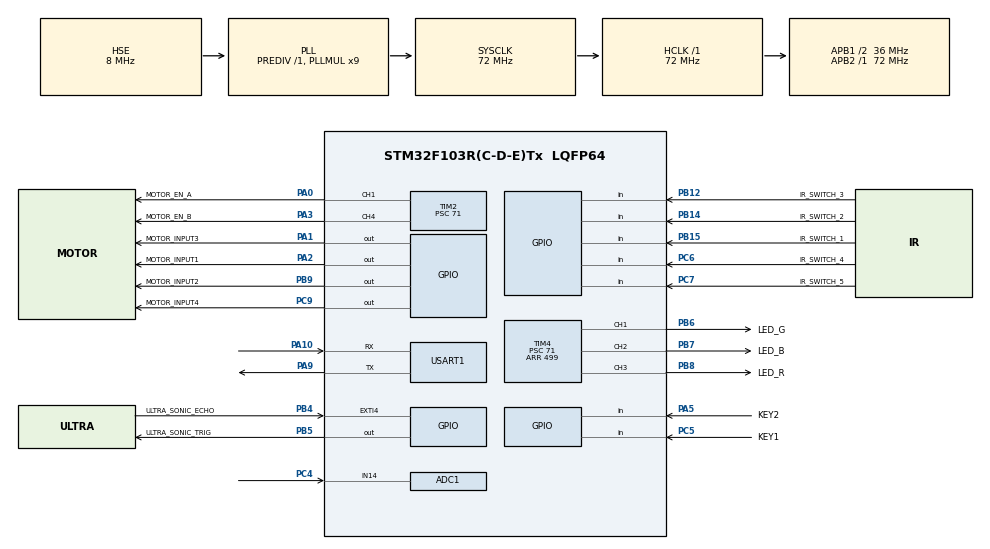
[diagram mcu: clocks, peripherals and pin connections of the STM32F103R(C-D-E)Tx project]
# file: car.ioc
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ADC1.Channel-0\#ChannelRegularConversion=ADC_CHANNEL_14
ADC1.NbrOfConversionFlag=1
ADC1.Rank-0\#ChannelRegularConversion=1
ADC1.SamplingTime-0\#ChannelRegularConversion=ADC_SAMPLETIME_1CYCLE_5
ADC1.master=1
FREERTOS.Tasks01=defaultTask,8,128,StartDefaultTask,Default,NULL,Dynamic,NULL,NULL
FREERTOS.configTOTAL_HEAP_SIZE=8192
Mcu.Family=STM32F1
Mcu.Name=STM32F103R(C-D-E)Tx
Mcu.Package=LQFP64
NVIC.EXTI4_IRQn=true\:5\:0\:false\:false\:true\:true\:true\:true\:true
NVIC.PriorityGroup=NVIC_PRIORITYGROUP_4
NVIC.TIM1_UP_IRQn=true\:15\:0\:false\:false\:true\:false\:false\:true\:true
NVIC.TIM2_IRQn=true\:5\:0\:false\:false\:true\:true\:true\:true\:true
NVIC.TIM3_IRQn=true\:5\:0\:true\:false\:true\:true\:true\:true\:true
NVIC.TIM4_IRQn=true\:5\:0\:false\:false\:true\:true\:true\:true\:true
NVIC.TIM5_IRQn=true\:5\:0\:false\:false\:true\:true\:true\:true\:true
NVIC.TimeBase=TIM1_UP_IRQn
NVIC.TimeBaseIP=TIM1
PA0-WKUP.GPIO_Label=MOTOR_EN_A
PA0-WKUP.Signal=S_TIM2_CH1_ETR
PA1.GPIO_Label=MOTOR_INPUT3
PA1.Signal=GPIO_Output
PA10.Mode=Asynchronous
PA10.Signal=USART1_RX
PA13.Mode=Serial_Wire
PA13.Signal=SYS_JTMS-SWDIO
PA14.Mode=Serial_Wire
PA14.Signal=SYS_JTCK-SWCLK
PA2.GPIO_Label=MOTOR_INPUT1
PA2.Signal=GPIO_Output
PA3.GPIO_Label=MOTOR_EN_B
PA3.Signal=S_TIM2_CH4
PA5.GPIO_Label=KEY2
PA5.Signal=GPIO_Input
PA9.Mode=Asynchronous
PA9.Signal=USART1_TX
PB12.GPIO_Label=IR_SWITCH_3
PB12.Signal=GPIO_Input
PB14.GPIO_Label=IR_SWITCH_2
PB14.Signal=GPIO_Input
PB15.GPIO_Label=IR_SWITCH_1
PB15.Signal=GPIO_Input
PB4.GPIO_Label=ULTRA_SONIC_ECHO
PB4.GPIO_ModeDefaultEXTI=GPIO_MODE_IT_RISING_FALLING
PB4.Signal=GPXTI4
PB5.GPIO_Label=ULTRA_SONIC_TRIG
PB5.Signal=GPIO_Output
PB6.GPIO_Label=LED_G
PB6.Signal=S_TIM4_CH1
PB7.GPIO_Label=LED_B
PB7.Signal=S_TIM4_CH2
PB8.GPIO_Label=LED_R
PB8.Signal=S_TIM4_CH3
PB9.GPIO_Label=MOTOR_INPUT2
PB9.Signal=GPIO_Output
PC4.Signal=ADCx_IN14
PC5.GPIO_Label=KEY1
PC5.Signal=GPIO_Input
PC6.GPIO_Label=IR_SWITCH_4
PC6.Signal=GPIO_Input
PC7.GPIO_Label=IR_SWITCH_5
PC7.Signal=GPIO_Input
PC9.GPIO_Label=MOTOR_INPUT4
PC9.Signal=GPIO_Output
PD0-OSC_IN.Mode=HSE-External-Oscillator
PD0-OSC_IN.Signal=RCC_OSC_IN
PD1-OSC_OUT.Mode=HSE-External-Oscillator
PD1-OSC_OUT.Signal=RCC_OSC_OUT
ProjectManager.HeapSize=0x200
ProjectManager.StackSize=0x400
ProjectManager.TargetToolchain=Makefile
RCC.ADCPresc=RCC_ADCPCLK2_DIV6
RCC.AHBFreq_Value=72000000
RCC.APB1CLKDivider=RCC_HCLK_DIV2
RCC.APB1Freq_Value=36000000
RCC.APB1TimFreq_Value=72000000
RCC.APB2Freq_Value=72000000
RCC.APB2TimFreq_Value=72000000
RCC.HCLKFreq_Value=72000000
RCC.PLLMUL=RCC_PLL_MUL9
RCC.PLLSourceVirtual=RCC_PLLSOURCE_HSE
RCC.SYSCLKFreq_VALUE=72000000
RCC.SYSCLKSource=RCC_SYSCLKSOURCE_PLLCLK
RCC.USBFreq_Value=72000000
SH.ADCx_IN14.0=ADC1_IN14,IN14
SH.S_TIM2_CH1_ETR.0=TIM2_CH1,PWM Generation1 CH1
SH.S_TIM2_CH4.0=TIM2_CH4,PWM Generation4 CH4
SH.S_TIM4_CH1.0=TIM4_CH1,PWM Generation1 CH1
SH.S_TIM4_CH2.0=TIM4_CH2,PWM Generation2 CH2
SH.S_TIM4_CH3.0=TIM4_CH3,PWM Generation3 CH3
TIM2.AutoReloadPreload=TIM_AUTORELOAD_PRELOAD_ENABLE
TIM2.Channel-PWM\ Generation1\ CH1=TIM_CHANNEL_1
TIM2.Channel-PWM\ Generation4\ CH4=TIM_CHANNEL_4
TIM2.Period=499
TIM2.Prescaler=71
TIM3.AutoReloadPreload=TIM_AUTORELOAD_PRELOAD_ENABLE
TIM3.Period=4999
TIM3.Prescaler=7199
TIM4.AutoReloadPreload=TIM_AUTORELOAD_PRELOAD_ENABLE
TIM4.Channel-PWM\ Generation1\ CH1=TIM_CHANNEL_1
TIM4.Channel-PWM\ Generation2\ CH2=TIM_CHANNEL_2
TIM4.Channel-PWM\ Generation3\ CH3=TIM_CHANNEL_3
TIM4.OCPolarity_1=TIM_OCPOLARITY_LOW
TIM4.OCPolarity_2=TIM_OCPOLARITY_LOW
TIM4.OCPolarity_3=TIM_OCPOLARITY_LOW
TIM4.Period=499
TIM4.Prescaler=71
TIM5.AutoReloadPreload=TIM_AUTORELOAD_PRELOAD_ENABLE
TIM5.Period=65535
TIM5.Prescaler=71
USART1.VirtualMode=VM_ASYNC
VP_FREERTOS_VS_CMSIS_V2.Mode=CMSIS_V2
VP_SYS_VS_tim1.Mode=TIM1
VP_TIM3_VS_ClockSourceINT.Mode=Internal
VP_TIM5_VS_ClockSourceINT.Mode=Internal
board=custom

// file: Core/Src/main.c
/* USER CODE BEGIN Header */
/**
  ******************************************************************************
  * @file           : main.c
  * @brief          : Main program body
  ******************************************************************************
  * @attention
  *
  * Copyright (c) 2025 STMicroelectronics.
  * All rights reserved.
  *
  * This software is licensed under terms that can be found in the LICENSE file
  * in the root directory of this software component.
  * If no LICENSE file comes with this software, it is provided AS-IS.
  *
  ******************************************************************************
  */
/* USER CODE END Header */
#include "main.h"
#include "cmsis_os.h"

/* USER CODE BEGIN Includes */
#include "tim_irq.h"
/* USER CODE END Includes */

ADC_HandleTypeDef hadc1;

TIM_HandleTypeDef htim2;
TIM_HandleTypeDef htim3;
TIM_HandleTypeDef htim4;
TIM_HandleTypeDef htim5;

UART_HandleTypeDef huart1;

/* Definitions for defaultTask */
osThreadId_t defaultTaskHandle;
const osThreadAttr_t defaultTask_attributes = {
  .name = "defaultTask",
  .stack_size = 128 * 4,
  .priority = (osPriority_t) osPriorityLow,
};
/* USER CODE BEGIN PV */
extern void create_thread(void);
/* USER CODE END PV */

void SystemClock_Config(void);
static void MX_GPIO_Init(void);
static void MX_TIM2_Init(void);
static void MX_USART1_UART_Init(void);
static void MX_TIM3_Init(void);
static void MX_TIM4_Init(void);
static void MX_ADC1_Init(void);
static void MX_TIM5_Init(void);
void StartDefaultTask(void *argument);

int main(void)
{

  /* MCU Configuration--------------------------------------------------------*/

  /* Reset of all peripherals, Initializes the Flash interface and the Systick. */
  HAL_Init();

  /* Configure the system clock */
  SystemClock_Config();

  /* Initialize all configured peripherals */
  MX_GPIO_Init();
  MX_TIM2_Init();
  MX_USART1_UART_Init();
  MX_TIM3_Init();
  MX_TIM4_Init();
  MX_ADC1_Init();
  MX_TIM5_Init();
  /* USER CODE BEGIN 2 */
  //AD校准
  HAL_ADCEx_Calibration_Start(&hadc1);
  /* USER CODE END 2 */

  /* Init scheduler */
  osKernelInitialize();

  /* Create the thread(s) */
  /* creation of defaultTask */
  defaultTaskHandle = osThreadNew(StartDefaultTask, NULL, &defaultTask_attributes);

  /* USER CODE BEGIN RTOS_THREADS */
  /* add threads, ... */
  create_thread();
  /* USER CODE END RTOS_THREADS */

  /* Start scheduler */
  osKernelStart();

  /* We should never get here as control is now taken by the scheduler */

  /* Infinite loop */
  while (1)
  {

  }
}

void SystemClock_Config(void)
{
  RCC_OscInitTypeDef RCC_OscInitStruct = {0};
  RCC_ClkInitTypeDef RCC_ClkInitStruct = {0};
  RCC_PeriphCLKInitTypeDef PeriphClkInit = {0};

  /** Initializes the RCC Oscillators according to the specified parameters
  * in the RCC_OscInitTypeDef structure.
  */
  RCC_OscInitStruct.OscillatorType = RCC_OSCILLATORTYPE_HSE;
  RCC_OscInitStruct.HSEState = RCC_HSE_ON;
  RCC_OscInitStruct.HSEPredivValue = RCC_HSE_PREDIV_DIV1;
  RCC_OscInitStruct.HSIState = RCC_HSI_ON;
  RCC_OscInitStruct.PLL.PLLState = RCC_PLL_ON;
  RCC_OscInitStruct.PLL.PLLSource = RCC_PLLSOURCE_HSE;
  RCC_OscInitStruct.PLL.PLLMUL = RCC_PLL_MUL9;
  if (HAL_RCC_OscConfig(&RCC_OscInitStruct) != HAL_OK)
  {
    Error_Handler();
  }

  /** Initializes the CPU, AHB and APB buses clocks
  */
  RCC_ClkInitStruct.ClockType = RCC_CLOCKTYPE_HCLK|RCC_CLOCKTYPE_SYSCLK
                              |RCC_CLOCKTYPE_PCLK1|RCC_CLOCKTYPE_PCLK2;
  RCC_ClkInitStruct.SYSCLKSource = RCC_SYSCLKSOURCE_PLLCLK;
  RCC_ClkInitStruct.AHBCLKDivider = RCC_SYSCLK_DIV1;
  RCC_ClkInitStruct.APB1CLKDivider = RCC_HCLK_DIV2;
  RCC_ClkInitStruct.APB2CLKDivider = RCC_HCLK_DIV1;

  if (HAL_RCC_ClockConfig(&RCC_ClkInitStruct, FLASH_LATENCY_2) != HAL_OK)
  {
    Error_Handler();
  }
  PeriphClkInit.PeriphClockSelection = RCC_PERIPHCLK_ADC;
  PeriphClkInit.AdcClockSelection = RCC_ADCPCLK2_DIV6;
  if (HAL_RCCEx_PeriphCLKConfig(&PeriphClkInit) != HAL_OK)
  {
    Error_Handler();
  }
}

static void MX_ADC1_Init(void)
{

  ADC_ChannelConfTypeDef sConfig = {0};

  /** Common config
  */
  hadc1.Instance = ADC1;
  hadc1.Init.ScanConvMode = ADC_SCAN_DISABLE;
  hadc1.Init.ContinuousConvMode = DISABLE;
  hadc1.Init.DiscontinuousConvMode = DISABLE;
  hadc1.Init.ExternalTrigConv = ADC_SOFTWARE_START;
  hadc1.Init.DataAlign = ADC_DATAALIGN_RIGHT;
  hadc1.Init.NbrOfConversion = 1;
  if (HAL_ADC_Init(&hadc1) != HAL_OK)
  {
    Error_Handler();
  }

  /** Configure Regular Channel
  */
  sConfig.Channel = ADC_CHANNEL_14;
  sConfig.Rank = ADC_REGULAR_RANK_1;
  sConfig.SamplingTime = ADC_SAMPLETIME_1CYCLE_5;
  if (HAL_ADC_ConfigChannel(&hadc1, &sConfig) != HAL_OK)
  {
    Error_Handler();
  }

}

static void MX_TIM2_Init(void)
{

  TIM_MasterConfigTypeDef sMasterConfig = {0};
  TIM_OC_InitTypeDef sConfigOC = {0};

  htim2.Instance = TIM2;
  htim2.Init.Prescaler = 71;
  htim2.Init.CounterMode = TIM_COUNTERMODE_UP;
  htim2.Init.Period = 499;
  htim2.Init.ClockDivision = TIM_CLOCKDIVISION_DIV1;
  htim2.Init.AutoReloadPreload = TIM_AUTORELOAD_PRELOAD_ENABLE;
  if (HAL_TIM_PWM_Init(&htim2) != HAL_OK)
  {
    Error_Handler();
  }
  sMasterConfig.MasterOutputTrigger = TIM_TRGO_RESET;
  sMasterConfig.MasterSlaveMode = TIM_MASTERSLAVEMODE_DISABLE;
  if (HAL_TIMEx_MasterConfigSynchronization(&htim2, &sMasterConfig) != HAL_OK)
  {
    Error_Handler();
  }
  sConfigOC.OCMode = TIM_OCMODE_PWM1;
  sConfigOC.Pulse = 0;
  sConfigOC.OCPolarity = TIM_OCPOLARITY_HIGH;
  sConfigOC.OCFastMode = TIM_OCFAST_DISABLE;
  if (HAL_TIM_PWM_ConfigChannel(&htim2, &sConfigOC, TIM_CHANNEL_1) != HAL_OK)
  {
    Error_Handler();
  }
  if (HAL_TIM_PWM_ConfigChannel(&htim2, &sConfigOC, TIM_CHANNEL_4) != HAL_OK)
  {
    Error_Handler();
  }
  HAL_TIM_MspPostInit(&htim2);

}

static void MX_TIM3_Init(void)
{

  TIM_ClockConfigTypeDef sClockSourceConfig = {0};
  TIM_MasterConfigTypeDef sMasterConfig = {0};

  htim3.Instance = TIM3;
  htim3.Init.Prescaler = 7199;
  htim3.Init.CounterMode = TIM_COUNTERMODE_UP;
  htim3.Init.Period = 4999;
  htim3.Init.ClockDivision = TIM_CLOCKDIVISION_DIV1;
  htim3.Init.AutoReloadPreload = TIM_AUTORELOAD_PRELOAD_ENABLE;
  if (HAL_TIM_Base_Init(&htim3) != HAL_OK)
  {
    Error_Handler();
  }
  sClockSourceConfig.ClockSource = TIM_CLOCKSOURCE_INTERNAL;
  if (HAL_TIM_ConfigClockSource(&htim3, &sClockSourceConfig) != HAL_OK)
  {
    Error_Handler();
  }
  sMasterConfig.MasterOutputTrigger = TIM_TRGO_RESET;
  sMasterConfig.MasterSlaveMode = TIM_MASTERSLAVEMODE_DISABLE;
  if (HAL_TIMEx_MasterConfigSynchronization(&htim3, &sMasterConfig) != HAL_OK)
  {
    Error_Handler();
  }

}

static void MX_TIM4_Init(void)
{

  TIM_MasterConfigTypeDef sMasterConfig = {0};
  TIM_OC_InitTypeDef sConfigOC = {0};

  htim4.Instance = TIM4;
  htim4.Init.Prescaler = 71;
  htim4.Init.CounterMode = TIM_COUNTERMODE_UP;
  htim4.Init.Period = 499;
  htim4.Init.ClockDivision = TIM_CLOCKDIVISION_DIV1;
  htim4.Init.AutoReloadPreload = TIM_AUTORELOAD_PRELOAD_ENABLE;
  if (HAL_TIM_PWM_Init(&htim4) != HAL_OK)
  {
    Error_Handler();
  }
  sMasterConfig.MasterOutputTrigger = TIM_TRGO_RESET;
  sMasterConfig.MasterSlaveMode = TIM_MASTERSLAVEMODE_DISABLE;
  if (HAL_TIMEx_MasterConfigSynchronization(&htim4, &sMasterConfig) != HAL_OK)
  {
    Error_Handler();
  }
  sConfigOC.OCMode = TIM_OCMODE_PWM1;
  sConfigOC.Pulse = 0;
  sConfigOC.OCPolarity = TIM_OCPOLARITY_LOW;
  sConfigOC.OCFastMode = TIM_OCFAST_DISABLE;
  if (HAL_TIM_PWM_ConfigChannel(&htim4, &sConfigOC, TIM_CHANNEL_1) != HAL_OK)
  {
    Error_Handler();
  }
  if (HAL_TIM_PWM_ConfigChannel(&htim4, &sConfigOC, TIM_CHANNEL_2) != HAL_OK)
  {
    Error_Handler();
  }
  if (HAL_TIM_PWM_ConfigChannel(&htim4, &sConfigOC, TIM_CHANNEL_3) != HAL_OK)
  {
    Error_Handler();
  }
  HAL_TIM_MspPostInit(&htim4);

}

static void MX_TIM5_Init(void)
{

  TIM_ClockConfigTypeDef sClockSourceConfig = {0};
  TIM_MasterConfigTypeDef sMasterConfig = {0};

  htim5.Instance = TIM5;
  htim5.Init.Prescaler = 71;
  htim5.Init.CounterMode = TIM_COUNTERMODE_UP;
  htim5.Init.Period = 65535;
  htim5.Init.ClockDivision = TIM_CLOCKDIVISION_DIV1;
  htim5.Init.AutoReloadPreload = TIM_AUTORELOAD_PRELOAD_ENABLE;
  if (HAL_TIM_Base_Init(&htim5) != HAL_OK)
  {
    Error_Handler();
  }
  sClockSourceConfig.ClockSource = TIM_CLOCKSOURCE_INTERNAL;
  if (HAL_TIM_ConfigClockSource(&htim5, &sClockSourceConfig) != HAL_OK)
  {
    Error_Handler();
  }
  sMasterConfig.MasterOutputTrigger = TIM_TRGO_RESET;
  sMasterConfig.MasterSlaveMode = TIM_MASTERSLAVEMODE_DISABLE;
  if (HAL_TIMEx_MasterConfigSynchronization(&htim5, &sMasterConfig) != HAL_OK)
  {
    Error_Handler();
  }

}

static void MX_USART1_UART_Init(void)
{

  huart1.Instance = USART1;
  huart1.Init.BaudRate = 115200;
  huart1.Init.WordLength = UART_WORDLENGTH_8B;
  huart1.Init.StopBits = UART_STOPBITS_1;
  huart1.Init.Parity = UART_PARITY_NONE;
  huart1.Init.Mode = UART_MODE_TX_RX;
  huart1.Init.HwFlowCtl = UART_HWCONTROL_NONE;
  huart1.Init.OverSampling = UART_OVERSAMPLING_16;
  if (HAL_UART_Init(&huart1) != HAL_OK)
  {
    Error_Handler();
  }

}

static void MX_GPIO_Init(void)
{
  GPIO_InitTypeDef GPIO_InitStruct = {0};

  /* GPIO Ports Clock Enable */
  __HAL_RCC_GPIOD_CLK_ENABLE();
  __HAL_RCC_GPIOA_CLK_ENABLE();
  __HAL_RCC_GPIOC_CLK_ENABLE();
  __HAL_RCC_GPIOB_CLK_ENABLE();

  /*Configure GPIO pin Output Level */
  HAL_GPIO_WritePin(GPIOA, MOTOR_INPUT3_Pin|MOTOR_INPUT1_Pin, GPIO_PIN_RESET);

  /*Configure GPIO pin Output Level */
  HAL_GPIO_WritePin(MOTOR_INPUT4_GPIO_Port, MOTOR_INPUT4_Pin, GPIO_PIN_RESET);

  /*Configure GPIO pin Output Level */
  HAL_GPIO_WritePin(GPIOB, ULTRA_SONIC_TRIG_Pin|MOTOR_INPUT2_Pin, GPIO_PIN_RESET);

  /*Configure GPIO pins : MOTOR_INPUT3_Pin MOTOR_INPUT1_Pin */
  GPIO_InitStruct.Pin = MOTOR_INPUT3_Pin|MOTOR_INPUT1_Pin;
  GPIO_InitStruct.Mode = GPIO_MODE_OUTPUT_PP;
  GPIO_InitStruct.Pull = GPIO_NOPULL;
  GPIO_InitStruct.Speed = GPIO_SPEED_FREQ_LOW;
  HAL_GPIO_Init(GPIOA, &GPIO_InitStruct);

  /*Configure GPIO pin : KEY2_Pin */
  GPIO_InitStruct.Pin = KEY2_Pin;
  GPIO_InitStruct.Mode = GPIO_MODE_INPUT;
  GPIO_InitStruct.Pull = GPIO_NOPULL;
  HAL_GPIO_Init(KEY2_GPIO_Port, &GPIO_InitStruct);

  /*Configure GPIO pins : KEY1_Pin IR_SWITCH_4_Pin IR_SWITCH_5_Pin */
  GPIO_InitStruct.Pin = KEY1_Pin|IR_SWITCH_4_Pin|IR_SWITCH_5_Pin;
  GPIO_InitStruct.Mode = GPIO_MODE_INPUT;
  GPIO_InitStruct.Pull = GPIO_NOPULL;
  HAL_GPIO_Init(GPIOC, &GPIO_InitStruct);

  /*Configure GPIO pins : IR_SWITCH_3_Pin IR_SWITCH_2_Pin IR_SWITCH_1_Pin */
  GPIO_InitStruct.Pin = IR_SWITCH_3_Pin|IR_SWITCH_2_Pin|IR_SWITCH_1_Pin;
  GPIO_InitStruct.Mode = GPIO_MODE_INPUT;
  GPIO_InitStruct.Pull = GPIO_NOPULL;
  HAL_GPIO_Init(GPIOB, &GPIO_InitStruct);

  /*Configure GPIO pin : MOTOR_INPUT4_Pin */
  GPIO_InitStruct.Pin = MOTOR_INPUT4_Pin;
  GPIO_InitStruct.Mode = GPIO_MODE_OUTPUT_PP;
  GPIO_InitStruct.Pull = GPIO_NOPULL;
  GPIO_InitStruct.Speed = GPIO_SPEED_FREQ_LOW;
  HAL_GPIO_Init(MOTOR_INPUT4_GPIO_Port, &GPIO_InitStruct);

  /*Configure GPIO pin : ULTRA_SONIC_ECHO_Pin */
  GPIO_InitStruct.Pin = ULTRA_SONIC_ECHO_Pin;
  GPIO_InitStruct.Mode = GPIO_MODE_IT_RISING_FALLING;
  GPIO_InitStruct.Pull = GPIO_NOPULL;
  HAL_GPIO_Init(ULTRA_SONIC_ECHO_GPIO_Port, &GPIO_InitStruct);

  /*Configure GPIO pins : ULTRA_SONIC_TRIG_Pin MOTOR_INPUT2_Pin */
  GPIO_InitStruct.Pin = ULTRA_SONIC_TRIG_Pin|MOTOR_INPUT2_Pin;
  GPIO_InitStruct.Mode = GPIO_MODE_OUTPUT_PP;
  GPIO_InitStruct.Pull = GPIO_NOPULL;
  GPIO_InitStruct.Speed = GPIO_SPEED_FREQ_LOW;
  HAL_GPIO_Init(GPIOB, &GPIO_InitStruct);

  /* EXTI interrupt init*/
  HAL_NVIC_SetPriority(EXTI4_IRQn, 5, 0);
  HAL_NVIC_EnableIRQ(EXTI4_IRQn);

}

void StartDefaultTask(void *argument)
{
  for(;;)
  {
    osDelay(1);
  }
}

void HAL_TIM_PeriodElapsedCallback(TIM_HandleTypeDef *htim)
{
  if (htim->Instance == TIM1)
  {
    HAL_IncTick();
  }
  /* USER CODE BEGIN Callback 1 */
  else
    tim_irq(htim);
  /* USER CODE END Callback 1 */
}

void Error_Handler(void)
{
  __disable_irq();
  while (1)
  {
  }
}

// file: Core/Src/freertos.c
/* USER CODE BEGIN Header */
/**
  ******************************************************************************
  * File Name          : freertos.c
  * Description        : Code for freertos applications
  ******************************************************************************
  * @attention
  *
  * Copyright (c) 2025 STMicroelectronics.
  * All rights reserved.
  *
  * This software is licensed under terms that can be found in the LICENSE file
  * in the root directory of this software component.
  * If no LICENSE file comes with this software, it is provided AS-IS.
  *
  ******************************************************************************
  */
/* USER CODE END Header */

#include "FreeRTOS.h"
#include "task.h"
#include "main.h"

/* USER CODE BEGIN Includes */
#include "cmsis_os2.h"
#include "tasks.h"
/* USER CODE END Includes */

/* USER CODE BEGIN Variables */
osThreadId_t drive_task_handle;
const osThreadAttr_t drive_task_attributes = {
  .name = "drive",
  .stack_size = 128 * 4,
  .priority = (osPriority_t)osPriorityNormal
};

osThreadId_t led_task_handle;
const osThreadAttr_t led_task_attributes = {
  .name = "led",
  .stack_size = 128 * 4,
  .priority = (osPriority_t)osPriorityBelowNormal
};

osThreadId_t control_task_handle;
const osThreadAttr_t control_task_attributes = {
  .name = "control",
  .stack_size = 128 * 4,
  .priority = (osPriority_t)osPriorityBelowNormal
};

osThreadId_t sensor_task_handle;
const osThreadAttr_t sensor_task_attributes = {
  .name = "sensor",
  .stack_size = 128 * 4,
  .priority = (osPriority_t)osPriorityNormal
};

osSemaphoreId_t it_timer_sem;
osSemaphoreId_t sensor_timer_sem;
osMutexId_t ultra_sonic_mutex;
//osEventFlagsId_t drive_flags;
osMessageQueueId_t led_message_queue;
osMessageQueueId_t drive_message_queue;
osMessageQueueId_t manual_drive_message_queue;
/* USER CODE END Variables */

/* USER CODE BEGIN FunctionPrototypes */
void create_thread(void) {
  // semaphores
  it_timer_sem = osSemaphoreNew(1,0,NULL);
  sensor_timer_sem = osSemaphoreNew(1,0,NULL);

  // mutex
  ultra_sonic_mutex = osMutexNew(NULL);

  // event flags
  //drive_flags = osEventFlagsNew(NULL);

  // message queue
  led_message_queue = osMessageQueueNew(16,sizeof(int),NULL);
  drive_message_queue = osMessageQueueNew(16,sizeof(int),NULL);
  manual_drive_message_queue = osMessageQueueNew(16,sizeof(int),NULL);

  // threads
  drive_task_handle = osThreadNew(drive_task,NULL,&drive_task_attributes);
  led_task_handle = osThreadNew(led_task,NULL,&led_task_attributes);
  control_task_handle = osThreadNew(control_task,NULL,&control_task_attributes);
  sensor_task_handle = osThreadNew(sensor_task,NULL,&sensor_task_attributes);

  // misc
  __HAL_TIM_CLEAR_IT(&htim3, TIM_IT_UPDATE);
  HAL_TIM_Base_Start_IT(&htim3);
}
/* USER CODE END FunctionPrototypes */
